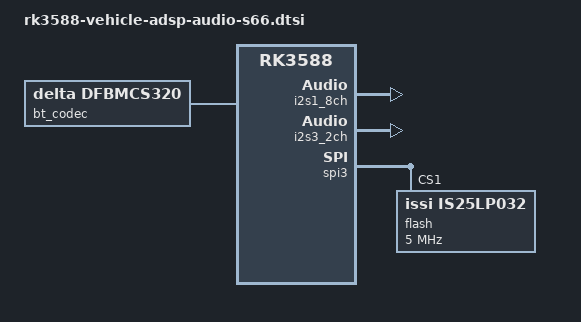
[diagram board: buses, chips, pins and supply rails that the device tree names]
// SPDX-License-Identifier: (GPL-2.0+ OR MIT)
/*
 * Copyright (c) 2023 Rockchip Electronics Co., Ltd.
 *
 */

/ {
	dummy_codec: dummy-codec {
		compatible = "rockchip,dummy-codec";
		#sound-dai-cells = <0>;
		status = "okay";
	};

	sound0 {
		compatible = "simple-audio-card";
		simple-audio-card,name = "rockchip,tdm";
		simple-audio-card,format = "i2s";
		simple-audio-card,mclk-fs = <256>;
		simple-audio-card,bitclock-master = <&codec_master>;
		simple-audio-card,frame-master = <&codec_master>;
		status = "okay";

		simple-audio-card,cpu {
			sound-dai = <&i2s1_8ch>;
		};
		codec_master: simple-audio-card,codec {
			sound-dai = <&dummy_codec>;
		};
	};

	bt_codec: bt-codec {
		compatible = "delta,dfbmcs320";
		#sound-dai-cells = <1>;
		status = "okay";
	};

	sound1 {
		compatible = "simple-audio-card";
		simple-audio-card,name = "rockchip,bt";
		simple-audio-card,format = "i2s";
		simple-audio-card,cpu {
			sound-dai = <&i2s3_2ch>;
		};
		simple-audio-card,codec {
			sound-dai = <&bt_codec 1>;
		};
	};
};

&i2s1_8ch {
	pinctrl-0 = <&i2s1m0_lrck
		     &i2s1m0_sclk
		     &i2s1m0_sdi0
		     &i2s1m0_sdi1
		     &i2s1m0_sdo0
		     &i2s1m0_sdo1
		     &i2s1m0_sdo2>;
	i2s-lrck-gpio = <&gpio4 RK_PA2 GPIO_ACTIVE_HIGH>;
	tdm-fsync-gpio = <&gpio4 RK_PA0 GPIO_ACTIVE_HIGH>;
	rockchip,tdm-multi-lanes;
	rockchip,tdm-tx-lanes = <3>;
	rockchip,tdm-rx-lanes = <2>;
	rockchip,clk-trcm = <1>;
	status = "okay";
};

&i2s3_2ch {
	assigned-clocks = <&cru CLK_I2S3_2CH>;
	assigned-clock-parents = <&mclkin_i2s3>;
	pinctrl-0 = <&i2s3_sdi
		     &i2s3_sdo
		     &i2s3_lrck
		     &i2s3_sclk
		     &i2s3_mclk>;
	status = "okay";
};

&mclkin_i2s3 {
	clock-frequency = <24576000>;
};

&spi3 {
	status = "okay";
	assigned-clocks = <&cru CLK_SPI3>;
	assigned-clock-rates = <200000000>;
	num-cs = <2>;
	pinctrl-0 = <&spi3m2_cs0
		     &spi3m2_cs1
		     &spi3m2_pins>;

	flash: is25lp032@1 {
		compatible = "issi,is25lp032", "jedec,spi-nor";
		reg = <1>;
		#address-cells = <1>;
		#size-cells = <1>;
		spi-max-frequency = <5000000>;
		m25p,fast-read;
	};
};
